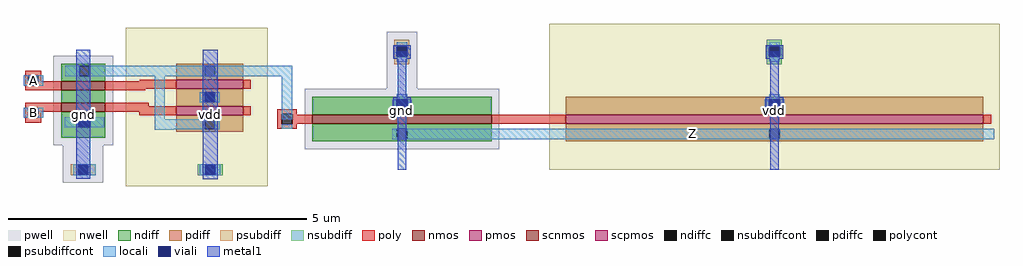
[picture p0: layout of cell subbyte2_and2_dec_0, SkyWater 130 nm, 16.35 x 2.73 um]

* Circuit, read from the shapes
.subckt subbyte2_and2_dec_0 Z A B vdd gnd
XM1 n1 B gnd gnd sky130_fd_pr__nfet_01v8 w=0.74 l=0.15
XM2 subbyte2_pinv_dec_0_0/A A n1 gnd sky130_fd_pr__nfet_01v8 w=0.74 l=0.15
XM3 gnd subbyte2_pinv_dec_0_0/A Z gnd sky130_fd_pr__nfet_01v8 w=3 l=0.15
XM4 vdd B subbyte2_pinv_dec_0_0/A vdd sky130_fd_pr__pfet_01v8 w=1.12 l=0.15
XM5 subbyte2_pinv_dec_0_0/A A vdd vdd sky130_fd_pr__pfet_01v8 w=1.12 l=0.15
XM6 vdd subbyte2_pinv_dec_0_0/A Z vdd sky130_fd_pr__pfet_01v8 w=7 l=0.15
.ends

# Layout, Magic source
magic
tech sky130A
magscale 1 2
<< locali >>
rect 70 282 136 316
rect 549 314 970 348
rect 70 174 136 208
rect 936 170 970 314
rect 1305 103 3322 137
<< metal1 >>
rect 246 -30 294 402
rect 670 -32 720 402
rect 1324 0 1352 395
rect 2572 0 2600 395
use sky130_fd_bd_sram__openram_dp_nand2_dec  sky130_fd_bd_sram__openram_dp_nand2_dec_0
timestamp -19799
transform 1 0 0 0 1 0
box 70 -56 888 476
use subbyte2_pinv_dec_0  subbyte2_pinv_dec_0_0
transform 1 0 876 0 1 0
box 44 0 2464 490
<< labels >>
rlabel locali s 2313 120 2313 120 4 Z
port 2 nsew
rlabel locali s 103 299 103 299 4 A
port 3 nsew
rlabel locali s 103 191 103 191 4 B
port 4 nsew
rlabel metal1 s 2572 0 2600 395 4 vdd
port 6 nsew
rlabel metal1 s 670 -32 720 402 4 vdd
port 6 nsew
rlabel metal1 s 1324 0 1352 395 4 gnd
port 8 nsew
rlabel metal1 s 246 -30 294 402 4 gnd
port 8 nsew
<< properties >>
string FIXED_BBOX 0 0 3322 395
<< end >>

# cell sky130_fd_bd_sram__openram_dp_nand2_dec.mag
magic
tech sky130A
magscale 1 2
timestamp -19799
<< nwell >>
rect 412 -56 888 476
<< pwell >>
rect 170 82 370 382
rect 202 -44 338 82
<< nmos >>
rect 196 266 344 296
rect 196 194 344 224
<< pmos >>
rect 582 272 806 302
rect 582 182 806 212
<< ndiff >>
rect 196 348 344 356
rect 196 314 257 348
rect 291 314 344 348
rect 196 296 344 314
rect 196 224 344 266
rect 196 176 344 194
rect 196 142 259 176
rect 293 142 344 176
rect 196 108 344 142
<< pdiff >>
rect 582 348 806 356
rect 582 314 677 348
rect 711 314 806 348
rect 582 302 806 314
rect 582 260 806 272
rect 582 226 677 260
rect 711 226 806 260
rect 582 212 806 226
rect 582 170 806 182
rect 582 136 677 170
rect 711 136 806 170
rect 582 128 806 136
<< ndiffc >>
rect 257 314 291 348
rect 259 142 293 176
<< pdiffc >>
rect 677 314 711 348
rect 677 226 711 260
rect 677 136 711 170
<< psubdiff >>
rect 228 17 312 18
rect 228 -17 253 17
rect 287 -17 312 17
rect 228 -18 312 -17
<< nsubdiff >>
rect 654 17 738 19
rect 654 -17 679 17
rect 713 -17 738 17
rect 654 -19 738 -17
<< psubdiffcont >>
rect 253 -17 287 17
<< nsubdiffcont >>
rect 679 -17 713 17
<< poly >>
rect 76 316 130 332
rect 76 282 86 316
rect 120 296 130 316
rect 460 296 582 302
rect 120 282 196 296
rect 76 266 196 282
rect 344 272 582 296
rect 806 272 832 302
rect 344 266 478 272
rect 76 208 196 224
rect 76 174 86 208
rect 120 194 196 208
rect 344 212 490 224
rect 344 194 582 212
rect 120 174 130 194
rect 76 158 130 174
rect 458 182 582 194
rect 806 182 832 212
<< polycont >>
rect 86 282 120 316
rect 86 174 120 208
<< locali >>
rect 70 282 86 316
rect 120 282 136 316
rect 210 314 257 348
rect 291 314 677 348
rect 711 314 888 348
rect 70 174 86 208
rect 120 174 136 208
rect 208 142 254 176
rect 293 142 340 176
rect 509 170 543 314
rect 660 226 677 260
rect 711 226 727 260
rect 509 169 598 170
rect 660 169 677 170
rect 509 136 677 169
rect 711 136 728 170
rect 509 135 685 136
rect 509 134 572 135
rect 236 17 312 18
rect 236 -17 253 17
rect 287 -17 312 17
rect 236 -18 312 -17
rect 660 17 730 19
rect 660 -17 679 17
rect 713 -17 730 17
rect 660 -19 730 -17
<< viali >>
rect 254 142 259 176
rect 259 142 288 176
rect 677 226 711 260
rect 253 -17 287 17
rect 679 -17 713 17
<< metal1 >>
rect 246 176 294 402
rect 246 142 254 176
rect 288 142 294 176
rect 246 17 294 142
rect 246 -17 253 17
rect 287 -17 294 17
rect 246 -30 294 -17
rect 670 260 720 402
rect 670 226 677 260
rect 711 226 720 260
rect 670 17 720 226
rect 670 -17 679 17
rect 713 -17 720 17
rect 670 -32 720 -17
<< labels >>
rlabel metal1 s 246 -30 294 402 4 GND
port 3 nsew
rlabel metal1 s 670 -32 720 402 4 VDD
port 5 nsew
rlabel locali s 103 191 103 191 4 B
port 6 nsew
rlabel locali s 103 299 103 299 4 A
port 7 nsew
rlabel locali s 854 331 854 331 4 Z
port 8 nsew
rlabel locali s 103 299 103 299 4 A
port 7 nsew
rlabel locali s 103 191 103 191 4 B
port 6 nsew
rlabel locali s 549 331 549 331 4 Z
port 8 nsew
rlabel metal1 s 695 185 695 185 4 vdd
port 9 nsew
rlabel metal1 s 270 186 270 186 4 gnd
port 10 nsew
<< properties >>
string FIXED_BBOX 0 0 876 395
<< end >>

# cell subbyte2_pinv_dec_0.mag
magic
tech sky130A
magscale 1 2
<< nwell >>
rect 956 0 2464 490
<< pwell >>
rect 411 271 513 462
rect 136 69 788 271
<< scnmos >>
rect 162 155 762 185
<< scpmos >>
rect 1010 155 2410 185
<< ndiff >>
rect 162 237 762 245
rect 162 203 445 237
rect 479 203 762 237
rect 162 185 762 203
rect 162 137 762 155
rect 162 103 445 137
rect 479 103 762 137
rect 162 95 762 103
<< pdiff >>
rect 1010 237 2410 245
rect 1010 203 1693 237
rect 1727 203 2410 237
rect 1010 185 2410 203
rect 1010 137 2410 155
rect 1010 103 1693 137
rect 1727 103 2410 137
rect 1010 95 2410 103
<< ndiffc >>
rect 445 203 479 237
rect 445 103 479 137
<< pdiffc >>
rect 1693 203 1727 237
rect 1693 103 1727 137
<< psubdiff >>
rect 437 412 487 436
rect 437 378 445 412
rect 479 378 487 412
rect 437 354 487 378
<< nsubdiff >>
rect 1685 412 1735 436
rect 1685 378 1693 412
rect 1727 378 1735 412
rect 1685 354 1735 378
<< psubdiffcont >>
rect 445 378 479 412
<< nsubdiffcont >>
rect 1693 378 1727 412
<< poly >>
rect 44 187 110 203
rect 44 153 60 187
rect 94 185 110 187
rect 94 155 162 185
rect 762 155 1010 185
rect 2410 155 2436 185
rect 94 153 110 155
rect 44 137 110 153
<< polycont >>
rect 60 153 94 187
<< locali >>
rect 445 412 479 428
rect 445 362 479 378
rect 1693 412 1727 428
rect 1693 362 1727 378
rect 445 237 479 253
rect 1693 237 1727 253
rect 429 203 445 237
rect 479 203 495 237
rect 1677 203 1693 237
rect 1727 203 1743 237
rect 60 187 94 203
rect 445 187 479 203
rect 1693 187 1727 203
rect 60 137 94 153
rect 429 103 445 137
rect 479 103 1693 137
rect 1727 103 2446 137
<< viali >>
rect 445 378 479 412
rect 1693 378 1727 412
rect 445 203 479 237
rect 1693 203 1727 237
<< metal1 >>
rect 433 412 491 418
rect 433 378 445 412
rect 479 378 491 412
rect 433 372 491 378
rect 1681 412 1739 418
rect 1681 378 1693 412
rect 1727 378 1739 412
rect 1681 372 1739 378
rect 448 243 476 372
rect 1696 243 1724 372
rect 433 237 491 243
rect 433 203 445 237
rect 479 203 491 237
rect 433 197 491 203
rect 1681 237 1739 243
rect 1681 203 1693 237
rect 1727 203 1739 237
rect 1681 197 1739 203
rect 448 0 476 197
rect 1696 0 1724 197
<< labels >>
rlabel locali s 77 170 77 170 4 A
port 2 nsew
rlabel locali s 1437 120 1437 120 4 Z
port 3 nsew
rlabel metal1 s 448 0 476 395 4 gnd
port 5 nsew
rlabel metal1 s 1696 0 1724 395 4 vdd
port 7 nsew
<< properties >>
string FIXED_BBOX 0 0 2446 41
<< end >>
